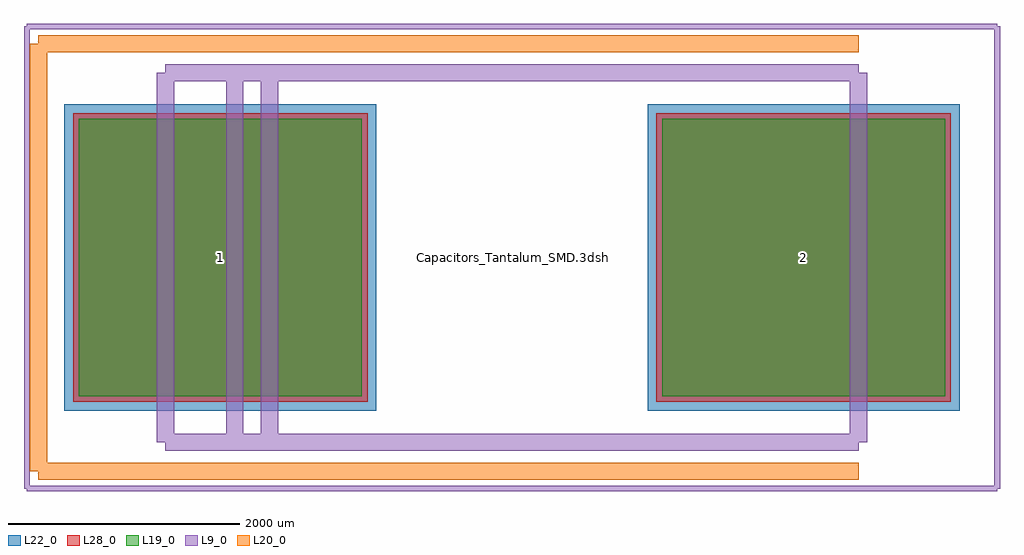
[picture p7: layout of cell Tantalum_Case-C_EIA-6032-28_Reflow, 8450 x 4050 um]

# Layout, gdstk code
import gdstk
lib = gdstk.Library(unit=1e-6, precision=1e-09)
def R(c, l, rs):  # rectangles x0, y0, x1, y1
    for r in rs: c.add(gdstk.rectangle(r[:2], r[2:], *l))
L9_0 = (9, 0)
L19_0 = (19, 0)
L20_0 = (20, 0)
L22_0 = (22, 0)
L28_0 = (28, 0)

tantalum_case_c_eia_6032 = lib.new_cell('Tantalum_Case-C_EIA-6032-28_Reflow')
R(tantalum_case_c_eia_6032, L19_0, [(-3750,-1200,-1300,1200), (1300,-1200,3750,1200)])
R(tantalum_case_c_eia_6032, L22_0, [(-3875,-1325,-1175,1325), (1175,-1325,3875,1325)])
R(tantalum_case_c_eia_6032, L28_0, [(-3800,-1250,-1250,1250), (1250,-1250,3800,1250)])
tantalum_case_c_eia_6032.add(gdstk.FlexPath([(-4100,1850),(-4100,-1850)], 149.998, ends="flush", simple_path=True, layer=20, datatype=0))  # L20_0
tantalum_case_c_eia_6032.add(gdstk.FlexPath([(-4100,-1850),(3000,-1850)], 149.998, ends="flush", simple_path=True, layer=20, datatype=0))  # L20_0
tantalum_case_c_eia_6032.add(gdstk.FlexPath([(-4100,1850),(3000,1850)], 149.998, ends="flush", simple_path=True, layer=20, datatype=0))  # L20_0
tantalum_case_c_eia_6032.add(gdstk.FlexPath([(-2100,1600),(-2100,-1600)], 149.998, ends="flush", simple_path=True, layer=9, datatype=0))  # L9_0
tantalum_case_c_eia_6032.add(gdstk.FlexPath([(-2400,1600),(-2400,-1600)], 149.998, ends="flush", simple_path=True, layer=9, datatype=0))  # L9_0
tantalum_case_c_eia_6032.add(gdstk.FlexPath([(3000,1600),(-3000,1600)], 149.998, ends="flush", simple_path=True, layer=9, datatype=0))  # L9_0
tantalum_case_c_eia_6032.add(gdstk.FlexPath([(3000,-1600),(3000,1600)], 149.998, ends="flush", simple_path=True, layer=9, datatype=0))  # L9_0
tantalum_case_c_eia_6032.add(gdstk.FlexPath([(-3000,-1600),(3000,-1600)], 149.998, ends="flush", simple_path=True, layer=9, datatype=0))  # L9_0
tantalum_case_c_eia_6032.add(gdstk.FlexPath([(-3000,1600),(-3000,-1600)], 149.998, ends="flush", simple_path=True, layer=9, datatype=0))  # L9_0
tantalum_case_c_eia_6032.add(gdstk.FlexPath([(4200,2000),(-4200,2000)], 50, ends="flush", simple_path=True, layer=9, datatype=0))  # L9_0
tantalum_case_c_eia_6032.add(gdstk.FlexPath([(4200,-2000),(4200,2000)], 50, ends="flush", simple_path=True, layer=9, datatype=0))  # L9_0
tantalum_case_c_eia_6032.add(gdstk.FlexPath([(-4200,-2000),(4200,-2000)], 50, ends="flush", simple_path=True, layer=9, datatype=0))  # L9_0
tantalum_case_c_eia_6032.add(gdstk.FlexPath([(-4200,2000),(-4200,-2000)], 50, ends="flush", simple_path=True, layer=9, datatype=0))  # L9_0
tantalum_case_c_eia_6032.add(gdstk.Label('Capacitors_Tantalum_SMD.3dshapes/Tantalum_Case-C_EIA-6032-28.wrl', (0,0), layer=12, texttype=0))
tantalum_case_c_eia_6032.add(gdstk.Label('2', (2525,0), layer=28, texttype=0))
tantalum_case_c_eia_6032.add(gdstk.Label('1', (-2525,0), layer=28, texttype=0))
tantalum_case_c_eia_6032.add(gdstk.Label('type', (0,-3350), layer=9, texttype=0))
tantalum_case_c_eia_6032.add(gdstk.Label('devicename', (0,3350), layer=9, texttype=0))

lib.write_gds('Tantalum_Case-C_EIA-6032-28_Reflow.gds')
